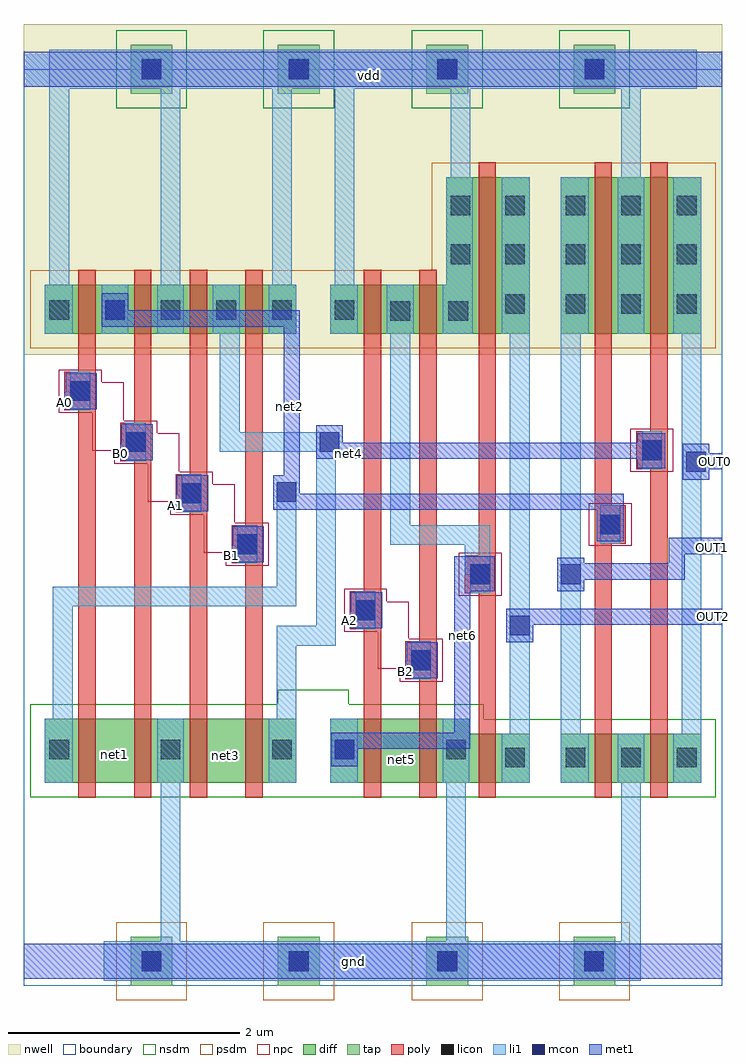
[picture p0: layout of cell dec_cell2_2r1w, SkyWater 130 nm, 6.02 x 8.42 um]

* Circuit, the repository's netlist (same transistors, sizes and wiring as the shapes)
* SPICE3 file created from dec_cell2_2r1w.ext - technology: sky130A



.subckt dec_cell2_2r1w A0 B0 A1 B1 A2 B2 OUT0 OUT1 OUT2 vdd gnd
X0 vdd net2 OUT0 vdd sky130_fd_pr__pfet_01v8 ad=0 pd=0 as=0 ps=0 w=1.35 l=0.15
X1 net5 A2 net6 gnd sky130_fd_pr__nfet_01v8 ad=0 pd=0 as=0 ps=0 w=0.55 l=0.15
X2 vdd B0 net2 vdd sky130_fd_pr__pfet_01v8 ad=0 pd=0 as=0 ps=0 w=0.42 l=0.15
X3 gnd net2 OUT0 gnd sky130_fd_pr__nfet_01v8 ad=0 pd=0 as=0 ps=0 w=0.42 l=0.15
X4 OUT2 net6 vdd vdd sky130_fd_pr__pfet_01v8 ad=0 pd=0 as=0 ps=0 w=1.35 l=0.15
X5 gnd B0 net1 gnd sky130_fd_pr__nfet_01v8 ad=0 pd=0 as=0 ps=0 w=0.55 l=0.15
X6 net4 A1 vdd vdd sky130_fd_pr__pfet_01v8 ad=0 pd=0 as=0 ps=0 w=0.42 l=0.15
X7 vdd B2 net6 vdd sky130_fd_pr__pfet_01v8 ad=0 pd=0 as=0 ps=0 w=0.42 l=0.15
X8 OUT2 net6 gnd gnd sky130_fd_pr__nfet_01v8 ad=0 pd=0 as=0 ps=0 w=0.42 l=0.15
X9 net3 A1 gnd gnd sky130_fd_pr__nfet_01v8 ad=0 pd=0 as=0 ps=0 w=0.55 l=0.15
X10 gnd B2 net5 gnd sky130_fd_pr__nfet_01v8 ad=0 pd=0 as=0 ps=0 w=0.55 l=0.15
X11 OUT1 net4 vdd vdd sky130_fd_pr__pfet_01v8 ad=0 pd=0 as=0 ps=0 w=1.35 l=0.15
X12 net2 A0 vdd vdd sky130_fd_pr__pfet_01v8 ad=0 pd=0 as=0 ps=0 w=0.42 l=0.15
X13 vdd B1 net4 vdd sky130_fd_pr__pfet_01v8 ad=0 pd=0 as=0 ps=0 w=0.42 l=0.15
X14 net6 A2 vdd vdd sky130_fd_pr__pfet_01v8 ad=0 pd=0 as=0 ps=0 w=0.42 l=0.15
X15 OUT1 net4 gnd gnd sky130_fd_pr__nfet_01v8 ad=0 pd=0 as=0 ps=0 w=0.42 l=0.15
X16 net1 A0 net2 gnd sky130_fd_pr__nfet_01v8 ad=0 pd=0 as=0 ps=0 w=0.55 l=0.15
X17 net4 B1 net3 gnd sky130_fd_pr__nfet_01v8 ad=0 pd=0 as=0 ps=0 w=0.55 l=0.15
.ends

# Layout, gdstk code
import gdstk
lib = gdstk.Library(unit=1e-6, precision=1e-09)
def R(c, l, rs):  # rectangles x0, y0, x1, y1
    for r in rs: c.add(gdstk.rectangle(r[:2], r[2:], *l))
def A(c, l, x, y, w, h, nx, ny, dx, dy):  # array of equal rectangles
    R(c, l, [(x+i*dx, y+j*dy, x+i*dx+w, y+j*dy+h) for i in range(nx) for j in range(ny)])
nwell = (64, 20)
diff = (65, 20)
tap = (65, 44)
poly = (66, 20)
licon = (66, 44)
li1 = (67, 20)
mcon = (67, 44)
met1 = (68, 20)
nsdm = (93, 44)
psdm = (94, 20)
npc = (95, 20)
boundary = (235, 4)

dec_cell2_2r1w = lib.new_cell('dec_cell2_2r1w')
R(dec_cell2_2r1w, nwell, [(0,5.23,6.02,8.08)])
R(dec_cell2_2r1w, diff, [(0.18,1.54,2.35,2.09), (2.64,1.54,4.36,1.96), (4.63,1.54,5.84,1.96), (2.64,1.96,3.84,2.09), (0.18,5.41,2.35,5.83), (2.64,5.41,4.36,5.83), (4.63,5.41,5.84,6.76), (3.64,5.83,4.36,6.76)])
R(dec_cell2_2r1w, tap, [(0.92,-0.21,1.28,0.21), (2.19,-0.21,2.55,0.21), (3.47,-0.21,3.83,0.21), (4.74,-0.21,5.1,0.21), (0.92,7.48,1.28,7.9), (2.19,7.48,2.55,7.9), (3.47,7.48,3.83,7.9), (4.74,7.48,5.1,7.9)])
R(dec_cell2_2r1w, poly, [(0.47,1.41,0.62,4.75), (0.95,1.41,1.1,4.31), (1.43,1.41,1.58,3.87), (1.91,1.41,2.06,3.43), (2.93,1.41,3.08,2.86), (3.41,1.41,3.56,2.43), (3.92,1.41,4.07,3.17), (4.92,1.41,5.07,3.6), (5.4,1.41,5.55,4.24), (3.29,2.43,3.56,2.76), (3.41,2.76,3.56,5.96), (2.81,2.86,3.08,3.19), (3.8,3.17,4.07,3.5), (2.93,3.19,3.08,5.96), (1.79,3.43,2.06,3.76), (3.92,3.5,4.07,6.89), (4.92,3.6,5.19,3.93), (1.91,3.76,2.06,5.96), (1.31,3.87,1.58,4.2), (4.92,3.93,5.07,6.89), (1.43,4.2,1.58,5.96), (5.28,4.24,5.55,4.57), (0.83,4.31,1.1,4.64), (5.4,4.57,5.55,6.89), (0.95,4.64,1.1,5.96), (0.35,4.75,0.62,5.08), (0.47,5.08,0.62,5.96)])
A(dec_cell2_2r1w, licon, 4.67, 1.67, 0.17, 0.17, 3, 2, 0.48, 3.91)
A(dec_cell2_2r1w, licon, 0.22, 1.74, 0.17, 0.17, 3, 1, 0.96, 0)
A(dec_cell2_2r1w, licon, 0.22, 5.53, 0.17, 0.17, 5, 1, 0.48, 0)
A(dec_cell2_2r1w, licon, 4.67, 6.01, 0.17, 0.17, 3, 2, 0.48, 0.42)
R(dec_cell2_2r1w, licon, [(1.015,-0.085,1.185,0.085), (2.285,-0.085,2.455,0.085), (3.565,-0.085,3.735,0.085), (4.83,-0.085,5,0.085), (4.15,1.67,4.32,1.84), (2.68,1.74,2.85,1.91), (3.64,1.74,3.81,1.91), (3.34,2.51,3.51,2.68), (2.86,2.94,3.03,3.11), (3.85,3.25,4.02,3.42), (1.84,3.51,2.01,3.68), (4.97,3.68,5.14,3.85), (1.36,3.95,1.53,4.12), (5.33,4.32,5.5,4.49), (0.88,4.39,1.05,4.56), (0.4,4.83,0.57,5), (3.16,5.52,3.33,5.69), (3.66,5.52,3.83,5.69), (2.68,5.53,2.85,5.7), (4.15,5.58,4.32,5.75), (3.68,6.01,3.85,6.18), (4.15,6.01,4.32,6.18), (3.68,6.43,3.85,6.6), (4.15,6.43,4.32,6.6), (1.015,7.605,1.185,7.775), (2.285,7.605,2.455,7.775), (3.565,7.605,3.735,7.775), (4.835,7.605,5.005,7.775)])
A(dec_cell2_2r1w, li1, 0.67, 5.41, 0.23, 0.42, 3, 1, 0.48, 0)
A(dec_cell2_2r1w, li1, 0.22, 5.83, 0.17, 1.69, 3, 1, 0.96, 0)
R(dec_cell2_2r1w, li1, [(0.69,-0.17,5.32,0.17), (1.18,0.17,1.35,1.54), (3.64,0.17,3.81,1.54), (5.15,0.17,5.32,1.54), (0.18,1.54,0.42,2.09), (1.15,1.54,1.38,2.09), (2.11,1.54,2.35,2.09), (2.64,1.54,2.88,2.09), (3.61,1.54,3.84,2.09), (4.12,1.54,4.36,1.96), (4.63,1.54,4.87,1.96), (5.12,1.54,5.35,1.96), (5.6,1.54,5.84,1.96), (4.19,1.96,4.36,5.41), (4.63,1.96,4.8,5.41), (5.67,1.96,5.84,4.22), (0.25,2.09,0.42,3.06), (2.18,2.09,2.35,2.72), (3.34,2.43,3.51,2.76), (2.18,2.72,2.69,2.89), (2.86,2.86,3.03,3.19), (2.52,2.89,2.69,4.39), (0.25,3.06,2.35,3.23), (3.85,3.17,4.02,3.33), (2.18,3.23,2.35,4.13), (3.8,3.33,4.02,3.59), (1.84,3.43,2.01,3.76), (3.16,3.59,4.02,3.76), (4.97,3.6,5.14,3.93), (3.16,3.76,3.33,5.41), (1.36,3.87,1.53,4.2), (5.67,4.22,5.88,4.39), (5.33,4.24,5.5,4.57), (0.88,4.31,1.05,4.64), (1.69,4.39,2.72,4.56), (5.67,4.39,5.84,5.41), (1.69,4.56,1.86,5.41), (0.4,4.75,0.57,5.08), (0.18,5.41,0.42,5.83), (2.11,5.41,2.35,5.83), (2.64,5.41,2.88,5.83), (3.13,5.41,3.36,5.83), (3.61,5.41,3.87,5.83), (4.12,5.41,4.36,6.76), (4.63,5.41,4.87,6.76), (5.12,5.41,5.35,6.76), (5.6,5.41,5.84,6.76), (2.68,5.83,2.85,7.52), (3.64,5.83,3.87,6.76), (3.68,6.76,3.85,7.52), (5.15,6.76,5.32,7.52), (0.22,7.52,5.8,7.86)])
R(dec_cell2_2r1w, mcon, [(1.015,-0.085,1.185,0.085), (2.285,-0.085,2.455,0.085), (3.565,-0.085,3.735,0.085), (4.83,-0.085,5,0.085), (2.68,1.74,2.85,1.91), (3.34,2.51,3.51,2.68), (4.19,2.81,4.36,2.98), (2.86,2.94,3.03,3.11), (3.85,3.25,4.02,3.42), (4.63,3.25,4.8,3.42), (1.84,3.51,2.01,3.68), (4.97,3.68,5.14,3.85), (1.36,3.95,1.53,4.12), (2.18,3.96,2.35,4.13), (5.71,4.22,5.88,4.39), (5.33,4.32,5.5,4.49), (0.88,4.39,1.05,4.56), (2.55,4.39,2.72,4.56), (0.4,4.83,0.57,5), (0.7,5.53,0.87,5.7), (1.015,7.605,1.185,7.775), (2.285,7.605,2.455,7.775), (3.565,7.605,3.735,7.775), (4.835,7.605,5.005,7.775)])
R(dec_cell2_2r1w, met1, [(0,-0.15,6.02,0.15), (2.65,1.68,2.88,1.83), (2.65,1.83,3.85,1.97), (3.71,1.97,3.85,3.19), (3.29,2.44,3.57,2.58), (3.3,2.58,3.57,2.75), (4.16,2.75,4.39,2.9), (2.81,2.87,3.09,3.01), (4.16,2.9,6.02,3.04), (2.82,3.01,3.09,3.18), (3.71,3.19,4.06,3.49), (4.6,3.19,4.83,3.29), (4.6,3.29,5.7,3.43), (4.6,3.43,4.83,3.48), (5.56,3.43,5.7,3.51), (1.79,3.44,2.07,3.58), (5.56,3.51,6.02,3.65), (1.8,3.58,2.07,3.75), (4.94,3.62,5.17,3.89), (1.31,3.88,1.59,4.02), (2.15,3.89,5.17,4.03), (1.32,4.02,1.59,4.19), (2.15,4.03,2.38,4.19), (5.68,4.15,5.91,4.24), (2.24,4.19,2.38,5.47), (5.68,4.24,6.02,4.38), (5.29,4.25,5.53,4.33), (0.83,4.32,1.11,4.46), (2.52,4.33,5.53,4.47), (5.68,4.38,5.91,4.46), (0.84,4.46,1.11,4.63), (2.52,4.47,2.75,4.62), (5.29,4.47,5.53,4.55), (0.35,4.76,0.63,4.9), (0.36,4.9,0.63,5.07), (0.67,5.47,2.38,5.61), (0.67,5.61,0.9,5.76), (0,7.54,6.02,7.84)])
R(dec_cell2_2r1w, nsdm, [(0.055,1.415,5.965,2.085), (0.055,2.085,3.965,2.215), (2.19,2.215,2.8,2.34), (0.795,7.355,1.405,8.025), (2.065,7.355,2.675,8.025), (3.345,7.355,3.955,8.025), (4.615,7.355,5.225,8.025)])
R(dec_cell2_2r1w, psdm, [(0.795,-0.335,1.405,0.335), (2.065,-0.335,2.675,0.335), (3.345,-0.335,3.955,0.335), (4.615,-0.335,5.225,0.335), (0.055,5.285,5.965,5.955), (3.515,5.955,5.965,6.885)])
R(dec_cell2_2r1w, npc, [(3.24,2.41,3.61,2.52), (3.05,2.52,3.61,2.78), (3.05,2.78,3.32,2.84), (2.76,2.84,3.32,3.1), (2.76,3.1,3.13,3.21), (3.75,3.15,4.12,3.52), (1.74,3.41,2.11,3.52), (1.55,3.52,2.11,3.78), (4.87,3.58,5.24,3.95), (1.55,3.78,1.82,3.85), (1.26,3.85,1.82,3.96), (1.07,3.96,1.82,4.11), (1.07,4.11,1.63,4.22), (1.07,4.22,1.34,4.29), (5.23,4.22,5.6,4.59), (0.78,4.29,1.34,4.4), (0.59,4.4,1.34,4.55), (0.59,4.55,1.15,4.66), (0.59,4.66,0.86,4.73), (0.3,4.73,0.86,4.99), (0.3,4.99,0.67,5.1)])
R(dec_cell2_2r1w, boundary, [(0,-0.21,6.02,7.69)])
dec_cell2_2r1w.add(gdstk.Label('net1', (0.78,1.78), layer=65, texttype=20))
dec_cell2_2r1w.add(gdstk.Label('net2', (2.29,4.78), layer=68, texttype=16))
dec_cell2_2r1w.add(gdstk.Label('net3', (1.74,1.77), layer=65, texttype=20))
dec_cell2_2r1w.add(gdstk.Label('net4', (2.8,4.38), layer=68, texttype=16))
dec_cell2_2r1w.add(gdstk.Label('net5', (3.26,1.74), layer=65, texttype=20))
dec_cell2_2r1w.add(gdstk.Label('net6', (3.78,2.81), layer=68, texttype=16))
dec_cell2_2r1w.add(gdstk.Label('A0', (0.35,4.82), layer=68, texttype=5))
dec_cell2_2r1w.add(gdstk.Label('B0', (0.83,4.38), layer=68, texttype=5))
dec_cell2_2r1w.add(gdstk.Label('A1', (1.31,3.93), layer=68, texttype=5))
dec_cell2_2r1w.add(gdstk.Label('B1', (1.79,3.5), layer=68, texttype=5))
dec_cell2_2r1w.add(gdstk.Label('A2', (2.81,2.94), layer=68, texttype=5))
dec_cell2_2r1w.add(gdstk.Label('B2', (3.29,2.5), layer=68, texttype=5))
dec_cell2_2r1w.add(gdstk.Label('OUT2', (5.95,2.97), layer=68, texttype=5))
dec_cell2_2r1w.add(gdstk.Label('vdd', (2.98,7.64), layer=68, texttype=5))
dec_cell2_2r1w.add(gdstk.Label('gnd', (2.84,0), layer=68, texttype=5))
dec_cell2_2r1w.add(gdstk.Label('OUT0', (5.96,4.31), layer=68, texttype=5))
dec_cell2_2r1w.add(gdstk.Label('OUT1', (5.94,3.57), layer=68, texttype=5))

lib.write_gds('dec_cell2_2r1w.gds')
